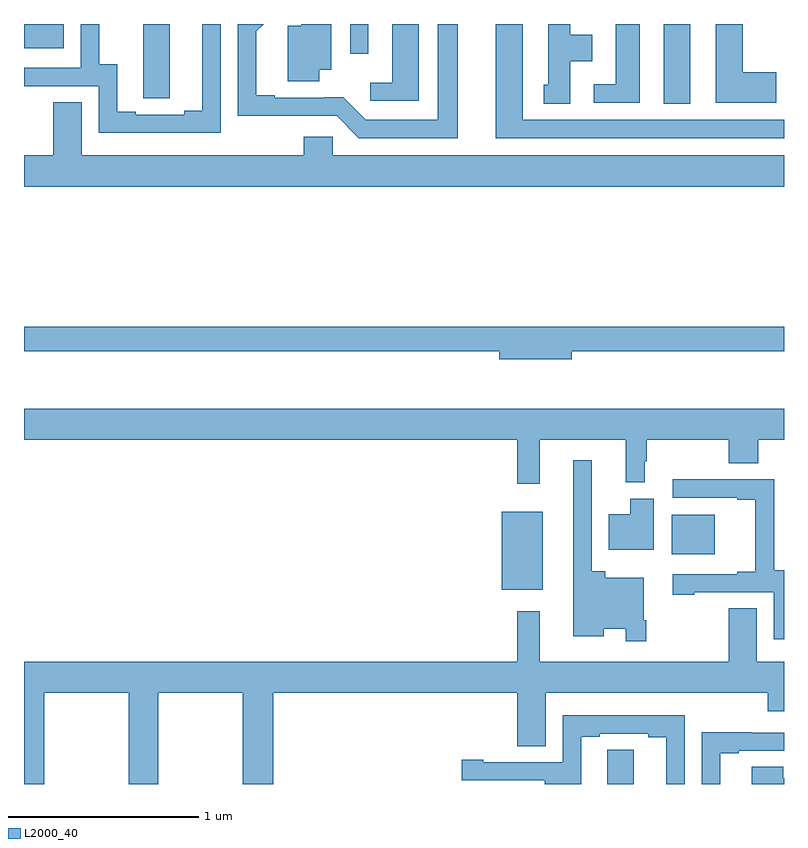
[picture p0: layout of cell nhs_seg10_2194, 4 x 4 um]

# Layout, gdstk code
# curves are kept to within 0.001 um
import gdstk
lib = gdstk.Library(unit=1e-6, precision=1e-09)
def R(c, l, rs):  # rectangles x0, y0, x1, y1
    for r in rs: c.add(gdstk.rectangle(r[:2], r[2:], *l))
def P(c, l, *ps):  # polygons
    for p in ps: c.add(gdstk.Polygon(p, *l))
L2000_40 = (2000, 40)

nhs_seg10_2194 = lib.new_cell('nhs_seg10_2194')
R(nhs_seg10_2194, L2000_40, [(229.514,1303.523,229.729,1303.933), (230.408,1303.709,230.635,1303.918), (230.366,1306.081,230.506,1306.5), (228.717,1306.344,228.813,1306.5), (227,1306.373,227.209,1306.5)])
P(nhs_seg10_2194, L2000_40, [(228.036,1306.5),(227.939,1306.5),(227.939,1306.043),(227.843,1306.043),(227.843,1306.023),(227.587,1306.023),(227.587,1306.038),(227.491,1306.038),(227.491,1306.289),(227.397,1306.289),(227.397,1306.5),(227.298,1306.5),(227.298,1306.269),(227,1306.269),(227,1306.173),(227.394,1306.173),(227.394,1305.927),(228.036,1305.927)],
  [(229.282,1306.5),(229.178,1306.5),(229.178,1305.996),(228.798,1305.996),(228.68,1306.114),(228.319,1306.113),(228.319,1306.126),(228.223,1306.126),(228.223,1306.462),(228.261,1306.5),(228.126,1306.5),(228.126,1306.016),(228.645,1306.017),(228.762,1305.9),(229.282,1305.9)],
  [(229.876,1306.304),(229.99,1306.304),(229.99,1306.444),(229.876,1306.444),(229.876,1306.5),(229.76,1306.5),(229.76,1306.179),(229.736,1306.179),(229.736,1306.081),(229.876,1306.081)],
  [(229.078,1306.5),(228.938,1306.5),(228.938,1306.192),(228.822,1306.192),(228.822,1306.095),(229.078,1306.095)],
  [(231,1305.996),(229.624,1305.996),(229.624,1306.5),(229.484,1306.5),(229.484,1305.9),(231,1305.9)],
  [(228.553,1306.259),(228.616,1306.259),(228.616,1306.5),(228.458,1306.5),(228.458,1306.492),(228.389,1306.492),(228.389,1306.198),(228.553,1306.198)],
  [(230.959,1306.245),(230.782,1306.245),(230.782,1306.5),(230.642,1306.5),(230.642,1306.085),(230.959,1306.085)],
  [(227.767,1306.5),(227.627,1306.5),(227.627,1306.216),(227.628,1306.216),(227.628,1306.108),(227.767,1306.108)],
  [(230.242,1306.5),(230.114,1306.5),(230.114,1306.182),(229.998,1306.182),(229.998,1306.086),(230.242,1306.086)],
  [(231,1305.808),(228.624,1305.808),(228.624,1305.906),(228.473,1305.906),(228.473,1305.808),(227.305,1305.808),(227.305,1306.088),(227.153,1306.088),(227.153,1305.808),(227,1305.808),(227,1305.644),(231,1305.644)],
  [(229.882,1304.778),(231,1304.778),(231,1304.906),(227,1304.906),(227,1304.778),(229.502,1304.778),(229.502,1304.735),(229.882,1304.735)],
  [(229.715,1304.312),(230.168,1304.312),(230.168,1304.087),(230.266,1304.087),(230.266,1304.2),(230.278,1304.2),(230.278,1304.312),(230.71,1304.312),(230.71,1304.188),(230.865,1304.188),(230.865,1304.312),(231,1304.312),(231,1304.476),(227,1304.476),(227,1304.312),(229.597,1304.312),(229.597,1304.079),(229.715,1304.079)],
  [(230.275,1303.363),(230.262,1303.363),(230.262,1303.585),(230.058,1303.585),(230.058,1303.621),(229.989,1303.621),(229.989,1304.203),(229.892,1304.203),(229.892,1303.277),(230.05,1303.277),(230.05,1303.316),(230.166,1303.316),(230.166,1303.251),(230.275,1303.251)],
  [(231,1303.625),(230.949,1303.625),(230.949,1304.103),(230.415,1304.103),(230.415,1304.007),(230.753,1304.007),(230.753,1303.995),(230.849,1303.995),(230.849,1303.618),(230.753,1303.618),(230.753,1303.605),(230.415,1303.605),(230.415,1303.497),(230.527,1303.497),(230.527,1303.509),(230.946,1303.509),(230.946,1303.263),(231,1303.263)],
  [(230.314,1304.002),(230.192,1304.002),(230.192,1303.921),(230.078,1303.921),(230.078,1303.733),(230.314,1303.733)],
  [(227.106,1302.98),(227.551,1302.98),(227.551,1302.5),(227.706,1302.5),(227.706,1302.98),(228.151,1302.98),(228.151,1302.5),(228.311,1302.5),(228.311,1302.98),(229.595,1302.98),(229.595,1302.7),(229.747,1302.7),(229.747,1302.98),(230.915,1302.98),(230.915,1302.882),(231,1302.882),(231,1303.144),(230.857,1303.144),(230.857,1303.424),(230.71,1303.424),(230.71,1303.144),(229.714,1303.144),(229.714,1303.408),(229.597,1303.408),(229.597,1303.144),(227,1303.144),(227,1302.5),(227.106,1302.5)],
  [(229.933,1302.75),(230.029,1302.75),(230.029,1302.765),(230.285,1302.765),(230.285,1302.745),(230.381,1302.745),(230.381,1302.5),(230.478,1302.5),(230.478,1302.861),(229.836,1302.861),(229.836,1302.615),(229.417,1302.615),(229.417,1302.628),(229.305,1302.628),(229.305,1302.519),(229.739,1302.519),(229.739,1302.518),(229.74,1302.518),(229.74,1302.5),(229.933,1302.5)],
  [(230.665,1302.663),(230.761,1302.663),(230.761,1302.675),(231,1302.675),(231,1302.771),(230.831,1302.771),(230.831,1302.773),(230.568,1302.773),(230.568,1302.5),(230.665,1302.5)],
  [(230.209,1302.68),(230.07,1302.68),(230.07,1302.572),(230.069,1302.572),(230.069,1302.5),(230.209,1302.5)],
  [(231,1302.529),(230.995,1302.529),(230.995,1302.59),(230.831,1302.59),(230.831,1302.5),(231,1302.5)])

lib.write_gds('nhs_seg10_2194.gds')
